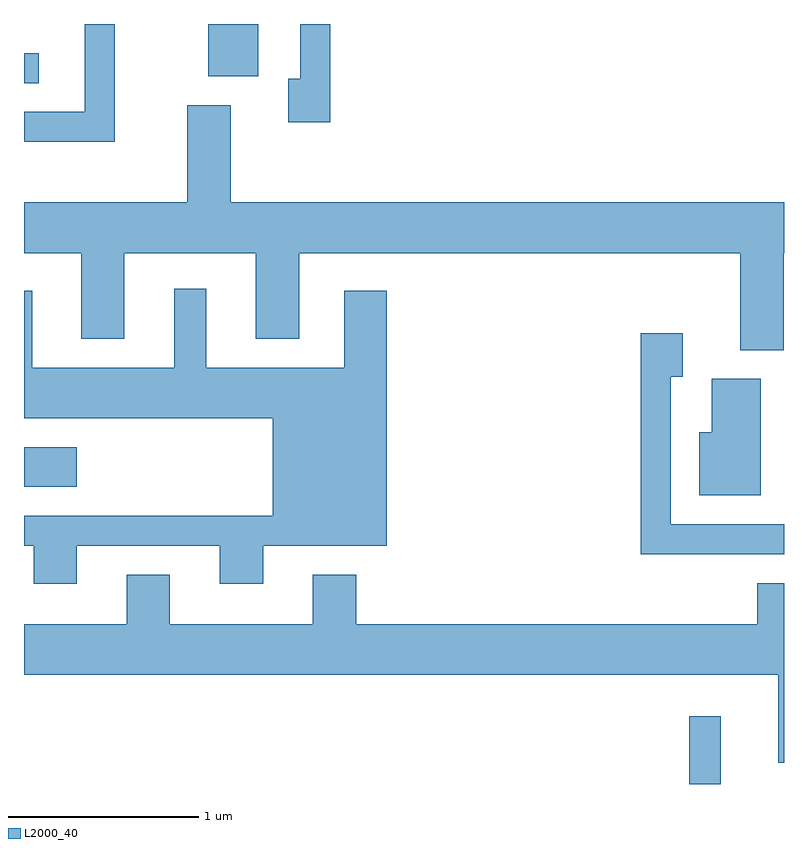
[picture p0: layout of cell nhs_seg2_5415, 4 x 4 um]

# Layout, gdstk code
import gdstk
lib = gdstk.Library(unit=1e-6, precision=1e-09)
def R(c, l, rs):  # rectangles x0, y0, x1, y1
    for r in rs: c.add(gdstk.rectangle(r[:2], r[2:], *l))
def P(c, l, *ps):  # polygons
    for p in ps: c.add(gdstk.Polygon(p, *l))
L2000_40 = (2000, 40)

nhs_seg2_5415 = lib.new_cell('nhs_seg2_5415')
R(nhs_seg2_5415, L2000_40, [(349.111,987.802,349.279,988.158), (345.611,989.366,345.889,989.574), (345.611,991.491,345.688,991.649), (346.581,991.526,346.844,991.802)])
P(nhs_seg2_5415, L2000_40, [(347.224,991.802),(347.066,991.802),(347.066,991.514),(347.001,991.514),(347.001,991.286),(347.224,991.286)],
  [(346.089,991.802),(345.931,991.802),(345.931,991.339),(345.611,991.339),(345.611,991.181),(346.089,991.181)],
  [(349.609,990.596),(349.611,990.596),(349.611,990.864),(346.699,990.864),(346.699,991.374),(346.471,991.374),(346.471,990.864),(345.611,990.864),(345.611,990.596),(345.911,990.596),(345.911,990.146),(346.139,990.146),(346.139,990.596),(346.831,990.596),(346.831,990.146),(347.059,990.146),(347.059,990.596),(349.381,990.596),(349.381,990.086),(349.609,990.086)],
  [(345.889,989.056),(346.641,989.056),(346.641,988.856),(346.869,988.856),(346.869,989.056),(347.519,989.056),(347.519,990.399),(347.296,990.399),(347.296,989.994),(346.569,989.994),(346.569,990.408),(346.401,990.408),(346.401,989.994),(345.654,989.994),(345.654,990.399),(345.611,990.399),(345.611,989.726),(346.921,989.726),(346.921,989.214),(345.611,989.214),(345.611,989.056),(345.661,989.056),(345.661,988.856),(345.889,988.856)],
  [(349.611,989.169),(349.014,989.169),(349.014,989.946),(349.079,989.946),(349.079,990.174),(348.856,990.174),(348.856,989.011),(349.611,989.011)],
  [(349.489,989.934),(349.231,989.934),(349.231,989.654),(349.166,989.654),(349.166,989.321),(349.489,989.321)],
  [(349.611,988.859),(349.471,988.859),(349.471,988.644),(347.359,988.644),(347.359,988.904),(347.131,988.904),(347.131,988.644),(346.379,988.644),(346.379,988.904),(346.151,988.904),(346.151,988.644),(345.611,988.644),(345.611,988.376),(349.581,988.376),(349.581,987.913),(349.611,987.913)])

lib.write_gds('nhs_seg2_5415.gds')
